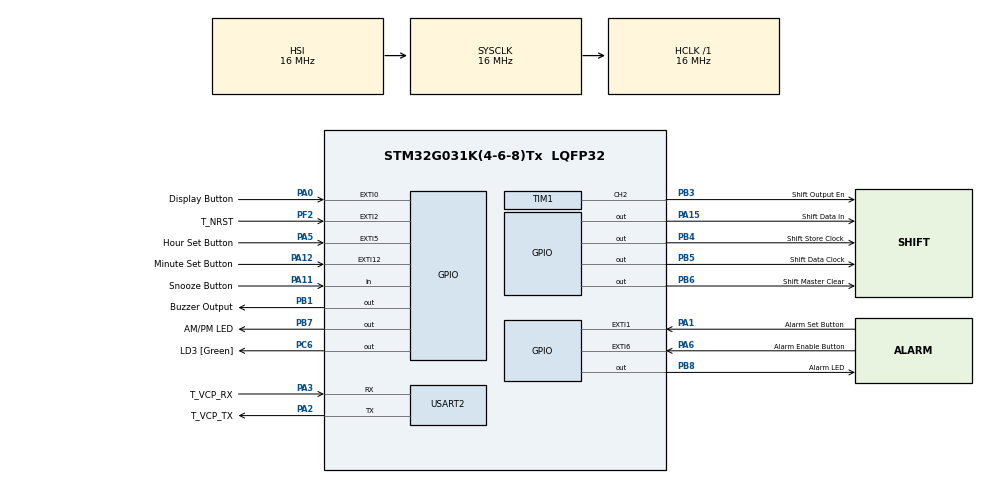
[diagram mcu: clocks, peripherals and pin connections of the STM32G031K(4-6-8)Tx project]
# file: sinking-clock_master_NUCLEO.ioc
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Mcu.Family=STM32G0
Mcu.Name=STM32G031K(4-6-8)Tx
Mcu.Package=LQFP32
NVIC.EXTI0_1_IRQn=true\:1\:0\:true\:false\:true\:true\:true\:true
NVIC.EXTI2_3_IRQn=true\:0\:0\:true\:false\:true\:true\:true\:true
NVIC.EXTI4_15_IRQn=true\:0\:0\:true\:false\:true\:true\:true\:true
NVIC.PVD_IRQn=true\:0\:0\:false\:false\:true\:true\:true\:true
NVIC.RTC_TAMP_IRQn=true\:0\:0\:false\:false\:true\:true\:true\:true
PA0.GPIO_Label=Display Button
PA0.GPIO_ModeDefaultEXTI=GPIO_MODE_IT_FALLING
PA0.GPIO_PuPd=GPIO_PULLUP
PA0.Signal=GPXTI0
PA1.GPIO_Label=Alarm Set Button
PA1.GPIO_ModeDefaultEXTI=GPIO_MODE_IT_FALLING
PA1.GPIO_PuPd=GPIO_PULLUP
PA1.Signal=GPXTI1
PA11\ [PA9].GPIO_Label=Snooze Button
PA11\ [PA9].GPIO_PuPd=GPIO_PULLUP
PA11\ [PA9].Signal=GPIO_Input
PA12\ [PA10].GPIO_Label=Minute Set Button
PA12\ [PA10].GPIO_ModeDefaultEXTI=GPIO_MODE_IT_FALLING
PA12\ [PA10].GPIO_PuPd=GPIO_PULLUP
PA12\ [PA10].Signal=GPXTI12
PA13.GPIO_Label=T_JTMS
PA13.Mode=Serial_Wire
PA13.Signal=SYS_SWDIO
PA14-BOOT0.GPIO_Label=T_JTCK
PA14-BOOT0.Mode=Serial_Wire
PA14-BOOT0.Signal=SYS_SWCLK
PA15.GPIO_Label=Shift Data In
PA15.Signal=GPIO_Output
PA2.GPIO_Label=T_VCP_TX
PA2.GPIO_PuPd=GPIO_PULLUP
PA2.Mode=Asynchronous
PA2.Signal=USART2_TX
PA3.GPIO_Label=T_VCP_RX
PA3.GPIO_PuPd=GPIO_PULLUP
PA3.Mode=Asynchronous
PA3.Signal=USART2_RX
PA5.GPIO_Label=Hour Set Button
PA5.GPIO_ModeDefaultEXTI=GPIO_MODE_IT_FALLING
PA5.GPIO_PuPd=GPIO_PULLUP
PA5.Signal=GPXTI5
PA6.GPIO_Label=Alarm Enable Button
PA6.GPIO_ModeDefaultEXTI=GPIO_MODE_IT_FALLING
PA6.GPIO_PuPd=GPIO_PULLUP
PA6.Signal=GPXTI6
PB1.GPIO_Label=Buzzer Output
PB1.Signal=GPIO_Output
PB3.GPIO_Label=Shift Output En
PB3.Signal=S_TIM1_CH2
PB4.GPIO_Label=Shift Store Clock
PB4.Signal=GPIO_Output
PB5.GPIO_Label=Shift Data Clock
PB5.Signal=GPIO_Output
PB6.GPIO_Label=Shift Master Clear
PB6.Signal=GPIO_Output
PB7.GPIO_Label=AM/PM LED
PB7.Signal=GPIO_Output
PB8.GPIO_Label=Alarm LED
PB8.Signal=GPIO_Output
PC14-OSC32_IN\ (PC14).Mode=LSE-External-Oscillator
PC14-OSC32_IN\ (PC14).Signal=RCC_OSC32_IN
PC15-OSC32_OUT\ (PC15).Mode=LSE-External-Oscillator
PC15-OSC32_OUT\ (PC15).Signal=RCC_OSC32_OUT
PC6.GPIO_Label=LD3 [Green]
PC6.Signal=GPIO_Output
PF2\ -\ NRST.GPIO_Label=T_NRST
PF2\ -\ NRST.Signal=GPXTI2
ProjectManager.HeapSize=0x200
ProjectManager.StackSize=0x400
ProjectManager.TargetToolchain=STM32CubeIDE
RCC.AHBFreq_Value=16000000
RCC.CortexFreq_Value=16000000
RCC.EXTERNAL_CLOCK_VALUE=12288000
RCC.HCLKFreq_Value=16000000
RCC.HSE_VALUE=8000000
RCC.HSI_VALUE=16000000
RCC.RTCClockSelection=RCC_RTCCLKSOURCE_LSE
RCC.SYSCLKFreq_VALUE=16000000
RCC.VCOOutputFreq_Value=128000000
RTC.Alarm-Alarm\ A=RTC_ALARM_A
RTC.AlarmMaskDateWeekDay-Alarm\ A=RTC_ALARMMASK_DATEWEEKDAY
RTC.AlarmMaskHours-Alarm\ A=RTC_ALARMMASK_HOURS
RTC.AlarmMaskSeconds-Alarm\ A=RTC_ALARMMASK_SECONDS
RTC.Format=RTC_FORMAT_BIN
RTC.HourFormat=RTC_HOURFORMAT_12
RTC.Hours=1
RTC.Minutes_A-Alarm\ A=1
RTC.Seconds=0
SH.S_TIM1_CH2.0=TIM1_CH2,PWM Generation2 CH2
TIM1.Channel-PWM\ Generation2\ CH2=TIM_CHANNEL_2
TIM1.Period=100-1
TIM1.Prescaler=160-1
TIM16.AutoReloadPreload=TIM_AUTORELOAD_PRELOAD_DISABLE
TIM16.Prescaler=244
USART2.VirtualMode-Asynchronous=VM_ASYNC
USART2.WordLength=WORDLENGTH_9B
VP_RTC_VS_RTC_Activate.Mode=RTC_Enabled
VP_RTC_VS_RTC_Alarm_A_Intern.Mode=Alarm A
VP_RTC_VS_RTC_Calendar.Mode=RTC_Calendar
VP_TIM16_VS_ClockSourceINT.Mode=Enable_Timer
board=NUCLEO-G031K8

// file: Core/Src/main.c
/* USER CODE BEGIN Header */
/**
  ******************************************************************************
  * @file           : main.c
  * @brief          : Main program body
  ******************************************************************************
  * @attention
  *
  * Copyright (c) 2023 STMicroelectronics.
  * All rights reserved.
  *
  * This software is licensed under terms that can be found in the LICENSE file
  * in the root directory of this software component.
  * If no LICENSE file comes with this software, it is provided AS-IS.
  *
  ******************************************************************************
  */
/* USER CODE END Header */
#include "main.h"

/* USER CODE BEGIN Includes */
#include "sevSeg_shift.h"
#include "alarm.h"
#include "ctouch.h"
#include "sinkingClockVars.h"
/* USER CODE END Includes */

RTC_HandleTypeDef hrtc;

TIM_HandleTypeDef htim1;
TIM_HandleTypeDef htim16;

UART_HandleTypeDef huart2;

/* USER CODE BEGIN PV */

TIM_HandleTypeDef *timerPWM = &htim1;
TIM_HandleTypeDef *timerDelay = &htim16;

/*
 * RTC access objects
 */

RTC_TimeTypeDef currTime = {0};
RTC_DateTypeDef currDate = {0};
RTC_AlarmTypeDef userAlarmObj = {0};
RTC_TimeTypeDef userAlarmTime = {0};

/* USER CODE END PV */

void SystemClock_Config(void);
static void MX_GPIO_Init(void);
static void MX_USART2_UART_Init(void);
static void MX_RTC_Init(void);
static void MX_TIM16_Init(void);
static void MX_TIM1_Init(void);
/* USER CODE BEGIN PFP */

/*
 * Call to fetch the current time from the RTC and send to the LED display.
 *
 * @param none
 *
 * @ret HAL status object
 */
HAL_StatusTypeDef updateAndDisplayTime(void);

/*
 * Call to fetch the current alarm from the RTC and send to the LED display.
 *
 * @param none
 *
 * @ret HAL status object
 */
HAL_StatusTypeDef updateAndDisplayAlarm(void);

/*
 * Called on interrupt from display button to toggle 7-segment intensity.
 *
 * @param none
 *
 * @ret HAL status object
 */
HAL_StatusTypeDef displayButtonISR(void);

/*
 * Called on interrupt from alarm enable button to toggle user alarm.
 *
 * @param none
 *
 * @ret HAL status object
 */
HAL_StatusTypeDef alarmEnableISR(void);

/*
 * Called on interrupt from alarm set button to enter alarm set loop.
 *
 * @param none
 *
 * @ret HAL status object
 */
HAL_StatusTypeDef alarmSetISR(void);

/*
 * Called on interrupt from hour and minute set buttons.
 * Contain logic to set user alarm hour or minute.
 *
 * @param none
 *
 * @ret HAL status object
 */
HAL_StatusTypeDef hourSetISR(void);
HAL_StatusTypeDef minuteSetISR(void);

/*
 * Enters loop to signal user alarm
 */
void userAlarmBeep();

/*
 * Map printf to UART output to read messages on terminal
 */
#ifdef __GNUC__
#define PUTCHAR_PROTOTYPE int __io_putchar(int ch)
#else
#define PUTCHAR_PROTOTYPE int fputc(int ch, FILE *f)
#endif

PUTCHAR_PROTOTYPE
{
  HAL_UART_Transmit(&huart2, (uint8_t *)&ch, 1, HAL_MAX_DELAY);
  return ch;
}

/* USER CODE END PFP */

int main(void)
{

  /* MCU Configuration--------------------------------------------------------*/

  /* Reset of all peripherals, Initializes the Flash interface and the Systick. */
  HAL_Init();

  /* Configure the system clock */
  SystemClock_Config();

  /* Initialize all configured peripherals */
  MX_GPIO_Init();
  MX_USART2_UART_Init();
  MX_RTC_Init();
  MX_TIM16_Init();
  MX_TIM1_Init();
  /* USER CODE BEGIN 2 */

  displayToggle = 2; 		// Display at 100% intensity for next display toggle

  // Initialize all GPIOs to be used with 7 segment display
  sevSeg_Init(shiftDataPin, shiftDataClockPin, shiftStoreClockPin,
					shiftOutputEnablePin, shiftMCLRPin,
					GPIOPortArray, timerDelay, timerPWM);

  	HAL_StatusTypeDef halRet = updateAndDisplayTime();

  	if(halRet != HAL_OK) {		//check HAL
  		printf("HAL Error - TX current time\n\r");
  	} else {
  		printf("Display Updated with current time\n\r");
  	}

  userAlarmToggle = false;			//Default to off

  // User alarm default value
  userAlarmTime.Hours = 1;
  userAlarmTime.Minutes = 1;
  userAlarmTime.TimeFormat = RTC_HOURFORMAT12_AM;

  /* USER CODE END 2 */

  /* Infinite loop */
  while (1)
  {

  }
}

void SystemClock_Config(void)
{
  RCC_OscInitTypeDef RCC_OscInitStruct = {0};
  RCC_ClkInitTypeDef RCC_ClkInitStruct = {0};

  /** Configure the main internal regulator output voltage
  */
  HAL_PWREx_ControlVoltageScaling(PWR_REGULATOR_VOLTAGE_SCALE1);

  /** Configure LSE Drive Capability
  */
  HAL_PWR_EnableBkUpAccess();
  __HAL_RCC_LSEDRIVE_CONFIG(RCC_LSEDRIVE_LOW);

  /** Initializes the RCC Oscillators according to the specified parameters
  * in the RCC_OscInitTypeDef structure.
  */
  RCC_OscInitStruct.OscillatorType = RCC_OSCILLATORTYPE_HSI|RCC_OSCILLATORTYPE_LSE;
  RCC_OscInitStruct.LSEState = RCC_LSE_ON;
  RCC_OscInitStruct.HSIState = RCC_HSI_ON;
  RCC_OscInitStruct.HSIDiv = RCC_HSI_DIV1;
  RCC_OscInitStruct.HSICalibrationValue = RCC_HSICALIBRATION_DEFAULT;
  RCC_OscInitStruct.PLL.PLLState = RCC_PLL_NONE;
  if (HAL_RCC_OscConfig(&RCC_OscInitStruct) != HAL_OK)
  {
    Error_Handler();
  }

  /** Initializes the CPU, AHB and APB buses clocks
  */
  RCC_ClkInitStruct.ClockType = RCC_CLOCKTYPE_HCLK|RCC_CLOCKTYPE_SYSCLK
                              |RCC_CLOCKTYPE_PCLK1;
  RCC_ClkInitStruct.SYSCLKSource = RCC_SYSCLKSOURCE_HSI;
  RCC_ClkInitStruct.AHBCLKDivider = RCC_SYSCLK_DIV1;
  RCC_ClkInitStruct.APB1CLKDivider = RCC_HCLK_DIV1;

  if (HAL_RCC_ClockConfig(&RCC_ClkInitStruct, FLASH_LATENCY_0) != HAL_OK)
  {
    Error_Handler();
  }
}

static void MX_RTC_Init(void)
{

  RTC_TimeTypeDef sTime = {0};
  RTC_DateTypeDef sDate = {0};
  RTC_AlarmTypeDef sAlarm = {0};

  /** Initialize RTC Only
  */
  hrtc.Instance = RTC;
  hrtc.Init.HourFormat = RTC_HOURFORMAT_12;
  hrtc.Init.AsynchPrediv = 127;
  hrtc.Init.SynchPrediv = 255;
  hrtc.Init.OutPut = RTC_OUTPUT_DISABLE;
  hrtc.Init.OutPutRemap = RTC_OUTPUT_REMAP_NONE;
  hrtc.Init.OutPutPolarity = RTC_OUTPUT_POLARITY_HIGH;
  hrtc.Init.OutPutType = RTC_OUTPUT_TYPE_OPENDRAIN;
  hrtc.Init.OutPutPullUp = RTC_OUTPUT_PULLUP_NONE;
  if (HAL_RTC_Init(&hrtc) != HAL_OK)
  {
    Error_Handler();
  }

  /** Initialize RTC and set the Time and Date
  */
  sTime.Hours = 1;
  sTime.Minutes = 0;
  sTime.Seconds = 0;
  sTime.SubSeconds = 0;
  sTime.TimeFormat = RTC_HOURFORMAT12_AM;
  sTime.DayLightSaving = RTC_DAYLIGHTSAVING_NONE;
  sTime.StoreOperation = RTC_STOREOPERATION_RESET;
  if (HAL_RTC_SetTime(&hrtc, &sTime, RTC_FORMAT_BIN) != HAL_OK)
  {
    Error_Handler();
  }
  sDate.WeekDay = RTC_WEEKDAY_MONDAY;
  sDate.Month = RTC_MONTH_JANUARY;
  sDate.Date = 1;
  sDate.Year = 0;

  if (HAL_RTC_SetDate(&hrtc, &sDate, RTC_FORMAT_BIN) != HAL_OK)
  {
    Error_Handler();
  }

  /** Enable the Alarm A
  */
  sAlarm.AlarmTime.Hours = 1;
  sAlarm.AlarmTime.Minutes = 1;
  sAlarm.AlarmTime.Seconds = 0;
  sAlarm.AlarmTime.SubSeconds = 0;
  sAlarm.AlarmTime.TimeFormat = RTC_HOURFORMAT12_AM;
  sAlarm.AlarmTime.DayLightSaving = RTC_DAYLIGHTSAVING_NONE;
  sAlarm.AlarmTime.StoreOperation = RTC_STOREOPERATION_RESET;
  sAlarm.AlarmMask = RTC_ALARMMASK_DATEWEEKDAY|RTC_ALARMMASK_HOURS
                              |RTC_ALARMMASK_SECONDS;
  sAlarm.AlarmSubSecondMask = RTC_ALARMSUBSECONDMASK_ALL;
  sAlarm.AlarmDateWeekDaySel = RTC_ALARMDATEWEEKDAYSEL_DATE;
  sAlarm.AlarmDateWeekDay = 1;
  sAlarm.Alarm = RTC_ALARM_A;
  if (HAL_RTC_SetAlarm_IT(&hrtc, &sAlarm, RTC_FORMAT_BIN) != HAL_OK)
  {
    Error_Handler();
  }
  /* USER CODE BEGIN RTC_Init 2 */

  currTime = sTime;
  currDate = sDate;
  userAlarmObj = sAlarm;
  userAlarmTime = userAlarmObj.AlarmTime;

  /* USER CODE END RTC_Init 2 */

}

static void MX_TIM1_Init(void)
{

  TIM_MasterConfigTypeDef sMasterConfig = {0};
  TIM_OC_InitTypeDef sConfigOC = {0};
  TIM_BreakDeadTimeConfigTypeDef sBreakDeadTimeConfig = {0};

  htim1.Instance = TIM1;
  htim1.Init.Prescaler = 160-1;
  htim1.Init.CounterMode = TIM_COUNTERMODE_UP;
  htim1.Init.Period = 100-1;
  htim1.Init.ClockDivision = TIM_CLOCKDIVISION_DIV1;
  htim1.Init.RepetitionCounter = 0;
  htim1.Init.AutoReloadPreload = TIM_AUTORELOAD_PRELOAD_DISABLE;
  if (HAL_TIM_PWM_Init(&htim1) != HAL_OK)
  {
    Error_Handler();
  }
  sMasterConfig.MasterOutputTrigger = TIM_TRGO_RESET;
  sMasterConfig.MasterOutputTrigger2 = TIM_TRGO2_RESET;
  sMasterConfig.MasterSlaveMode = TIM_MASTERSLAVEMODE_DISABLE;
  if (HAL_TIMEx_MasterConfigSynchronization(&htim1, &sMasterConfig) != HAL_OK)
  {
    Error_Handler();
  }
  sConfigOC.OCMode = TIM_OCMODE_PWM1;
  sConfigOC.Pulse = 0;
  sConfigOC.OCPolarity = TIM_OCPOLARITY_HIGH;
  sConfigOC.OCNPolarity = TIM_OCNPOLARITY_HIGH;
  sConfigOC.OCFastMode = TIM_OCFAST_DISABLE;
  sConfigOC.OCIdleState = TIM_OCIDLESTATE_RESET;
  sConfigOC.OCNIdleState = TIM_OCNIDLESTATE_RESET;
  if (HAL_TIM_PWM_ConfigChannel(&htim1, &sConfigOC, TIM_CHANNEL_2) != HAL_OK)
  {
    Error_Handler();
  }
  sBreakDeadTimeConfig.OffStateRunMode = TIM_OSSR_DISABLE;
  sBreakDeadTimeConfig.OffStateIDLEMode = TIM_OSSI_DISABLE;
  sBreakDeadTimeConfig.LockLevel = TIM_LOCKLEVEL_OFF;
  sBreakDeadTimeConfig.DeadTime = 0;
  sBreakDeadTimeConfig.BreakState = TIM_BREAK_DISABLE;
  sBreakDeadTimeConfig.BreakPolarity = TIM_BREAKPOLARITY_HIGH;
  sBreakDeadTimeConfig.BreakFilter = 0;
  sBreakDeadTimeConfig.BreakAFMode = TIM_BREAK_AFMODE_INPUT;
  sBreakDeadTimeConfig.Break2State = TIM_BREAK2_DISABLE;
  sBreakDeadTimeConfig.Break2Polarity = TIM_BREAK2POLARITY_HIGH;
  sBreakDeadTimeConfig.Break2Filter = 0;
  sBreakDeadTimeConfig.Break2AFMode = TIM_BREAK_AFMODE_INPUT;
  sBreakDeadTimeConfig.AutomaticOutput = TIM_AUTOMATICOUTPUT_DISABLE;
  if (HAL_TIMEx_ConfigBreakDeadTime(&htim1, &sBreakDeadTimeConfig) != HAL_OK)
  {
    Error_Handler();
  }
  HAL_TIM_MspPostInit(&htim1);

}

static void MX_TIM16_Init(void)
{

  htim16.Instance = TIM16;
  htim16.Init.Prescaler = 244;
  htim16.Init.CounterMode = TIM_COUNTERMODE_UP;
  htim16.Init.Period = 65535;
  htim16.Init.ClockDivision = TIM_CLOCKDIVISION_DIV1;
  htim16.Init.RepetitionCounter = 0;
  htim16.Init.AutoReloadPreload = TIM_AUTORELOAD_PRELOAD_DISABLE;
  if (HAL_TIM_Base_Init(&htim16) != HAL_OK)
  {
    Error_Handler();
  }

}

static void MX_USART2_UART_Init(void)
{

  huart2.Instance = USART2;
  huart2.Init.BaudRate = 115200;
  huart2.Init.WordLength = UART_WORDLENGTH_9B;
  huart2.Init.StopBits = UART_STOPBITS_1;
  huart2.Init.Parity = UART_PARITY_NONE;
  huart2.Init.Mode = UART_MODE_TX_RX;
  huart2.Init.HwFlowCtl = UART_HWCONTROL_NONE;
  huart2.Init.OverSampling = UART_OVERSAMPLING_16;
  huart2.Init.OneBitSampling = UART_ONE_BIT_SAMPLE_DISABLE;
  huart2.Init.ClockPrescaler = UART_PRESCALER_DIV1;
  huart2.AdvancedInit.AdvFeatureInit = UART_ADVFEATURE_NO_INIT;
  if (HAL_UART_Init(&huart2) != HAL_OK)
  {
    Error_Handler();
  }

}

static void MX_GPIO_Init(void)
{
  GPIO_InitTypeDef GPIO_InitStruct = {0};

  /* GPIO Ports Clock Enable */
  __HAL_RCC_GPIOC_CLK_ENABLE();
  __HAL_RCC_GPIOF_CLK_ENABLE();
  __HAL_RCC_GPIOA_CLK_ENABLE();
  __HAL_RCC_GPIOB_CLK_ENABLE();

  /*Configure GPIO pin Output Level */
  HAL_GPIO_WritePin(GPIOB, Buzzer_Output_Pin|Shift_Store_Clock_Pin|Shift_Data_Clock_Pin|Shift_Master_Clear_Pin
                          |AM_PM_LED_Pin|Alarm_LED_Pin, GPIO_PIN_RESET);

  /*Configure GPIO pin Output Level */
  HAL_GPIO_WritePin(LD3_GPIO_Port, LD3_Pin, GPIO_PIN_RESET);

  /*Configure GPIO pin Output Level */
  HAL_GPIO_WritePin(Shift_Data_In_GPIO_Port, Shift_Data_In_Pin, GPIO_PIN_RESET);

  /*Configure GPIO pin : T_NRST_Pin */
  GPIO_InitStruct.Pin = T_NRST_Pin;
  GPIO_InitStruct.Mode = GPIO_MODE_IT_RISING;
  GPIO_InitStruct.Pull = GPIO_NOPULL;
  HAL_GPIO_Init(T_NRST_GPIO_Port, &GPIO_InitStruct);

  /*Configure GPIO pins : Display_Button_Pin Alarm_Set_Button_Pin Hour_Set_Button_Pin Alarm_Enable_Button_Pin
                           Minute_Set_Button_Pin */
  GPIO_InitStruct.Pin = Display_Button_Pin|Alarm_Set_Button_Pin|Hour_Set_Button_Pin|Alarm_Enable_Button_Pin
                          |Minute_Set_Button_Pin;
  GPIO_InitStruct.Mode = GPIO_MODE_IT_FALLING;
  GPIO_InitStruct.Pull = GPIO_PULLUP;
  HAL_GPIO_Init(GPIOA, &GPIO_InitStruct);

  /*Configure GPIO pins : Buzzer_Output_Pin Shift_Store_Clock_Pin Shift_Data_Clock_Pin Shift_Master_Clear_Pin
                           AM_PM_LED_Pin Alarm_LED_Pin */
  GPIO_InitStruct.Pin = Buzzer_Output_Pin|Shift_Store_Clock_Pin|Shift_Data_Clock_Pin|Shift_Master_Clear_Pin
                          |AM_PM_LED_Pin|Alarm_LED_Pin;
  GPIO_InitStruct.Mode = GPIO_MODE_OUTPUT_PP;
  GPIO_InitStruct.Pull = GPIO_NOPULL;
  GPIO_InitStruct.Speed = GPIO_SPEED_FREQ_LOW;
  HAL_GPIO_Init(GPIOB, &GPIO_InitStruct);

  /*Configure GPIO pin : LD3_Pin */
  GPIO_InitStruct.Pin = LD3_Pin;
  GPIO_InitStruct.Mode = GPIO_MODE_OUTPUT_PP;
  GPIO_InitStruct.Pull = GPIO_NOPULL;
  GPIO_InitStruct.Speed = GPIO_SPEED_FREQ_LOW;
  HAL_GPIO_Init(LD3_GPIO_Port, &GPIO_InitStruct);

  /*Configure GPIO pin : Snooze_Button_Pin */
  GPIO_InitStruct.Pin = Snooze_Button_Pin;
  GPIO_InitStruct.Mode = GPIO_MODE_INPUT;
  GPIO_InitStruct.Pull = GPIO_PULLUP;
  HAL_GPIO_Init(Snooze_Button_GPIO_Port, &GPIO_InitStruct);

  /*Configure GPIO pin : Shift_Data_In_Pin */
  GPIO_InitStruct.Pin = Shift_Data_In_Pin;
  GPIO_InitStruct.Mode = GPIO_MODE_OUTPUT_PP;
  GPIO_InitStruct.Pull = GPIO_NOPULL;
  GPIO_InitStruct.Speed = GPIO_SPEED_FREQ_LOW;
  HAL_GPIO_Init(Shift_Data_In_GPIO_Port, &GPIO_InitStruct);

  /* EXTI interrupt init*/
  HAL_NVIC_SetPriority(EXTI0_1_IRQn, 1, 0);
  HAL_NVIC_EnableIRQ(EXTI0_1_IRQn);

  HAL_NVIC_SetPriority(EXTI2_3_IRQn, 0, 0);
  HAL_NVIC_EnableIRQ(EXTI2_3_IRQn);

  HAL_NVIC_SetPriority(EXTI4_15_IRQn, 0, 0);
  HAL_NVIC_EnableIRQ(EXTI4_15_IRQn);

}

/* USER CODE BEGIN 4 */

HAL_StatusTypeDef updateAndDisplayTime(void) {

	HAL_StatusTypeDef halRet = HAL_OK;

	getRTCTime(&hrtc, &currTime, &currDate);
	sevSeg_updateDigits(&currTime);

	/*
	 * There is no PM LED anymore
	 */
//	if(currTime.TimeFormat == RTC_HOURFORMAT12_PM) {			// If we are in the PM hours
//		HAL_GPIO_WritePin(GPIOB, PMLED, GPIO_PIN_SET);			// Turn on PM LED
//	}
//	else {
//		HAL_GPIO_WritePin(GPIOB, PMLED, GPIO_PIN_RESET);		// Else, it is A.M.
//	}

	return halRet;

}

HAL_StatusTypeDef updateAndDisplayAlarm(void) {

	HAL_StatusTypeDef halRet = HAL_OK;

	sevSeg_updateDigits(&userAlarmTime);

	if(userAlarmTime.TimeFormat == RTC_HOURFORMAT12_PM) {			// If we are in the PM hours
		HAL_GPIO_WritePin(GPIOB, PMLED, GPIO_PIN_SET);			// Turn on PM LED
	}
	else {
		HAL_GPIO_WritePin(GPIOB, PMLED, GPIO_PIN_RESET);		// Else, it is A.M.
	}

	return halRet;

}

void HAL_RTC_AlarmAEventCallback(RTC_HandleTypeDef *hrtc) {

	  printf("Enter current time minute increment interrupt\n\r");

	  RTC_AlarmTypeDef sAlarm;
	  getRTCTime(hrtc, &currTime, &currDate);

	  if(sAlarm.AlarmTime.Minutes>58) {
		sAlarm.AlarmTime.Minutes=0;
		printf("Reset alarm time\n\r");
	  } else {
		sAlarm.AlarmTime.Minutes=sAlarm.AlarmTime.Minutes+1;
	  }
		while(HAL_RTC_SetAlarm_IT(hrtc, &sAlarm, FORMAT_BIN)!=HAL_OK){}

	  updateAndDisplayTime();

	  printf("Current time: %u : %u : %u\n\r", currTime.Hours, currTime.Minutes, currTime.Seconds);

	  // If alarm is enabled and current time matches user alarm time, set off the alarm.
	  if(userAlarmToggle && userAlarmTime.Hours == currTime.Hours
			  && userAlarmTime.Minutes == currTime.Minutes && userAlarmTime.TimeFormat == currTime.TimeFormat) {
		  userAlarmBeep();
	  }

}

void userAlarmBeep() {

	HAL_TIM_Base_Stop(timerDelay);
	HAL_TIM_Base_Start(timerDelay);						// Begin timer 16 counting (to 500 ms)
	uint32_t timerVal = __HAL_TIM_GET_COUNTER(timerDelay);	// Get initial timer value to compare to
	bool displayBlink = false;

	do {						// Beep buzzer and blink display until snooze button is pressed

		updateAndDisplayTime();				// Update to current time and display

		if(__HAL_TIM_GET_COUNTER(timerDelay) - timerVal >= (65535 / 2)) {		// Use hardware timer to blink/beep display

			sevSeg_setIntensity(timerPWM, sevSeg_intensityDuty[displayBlink]);	// Toggle 0% to 50% duty cycle

			HAL_GPIO_TogglePin(GPIOB, buzzerPin);					// Toggle Buzzer

			timerVal = __HAL_TIM_GET_COUNTER(timerDelay);				// Update timer value

			displayBlink = !displayBlink;							// Toggle display blink counter

			//printf("Display Blink = %u\n\r", displayBlink);

		}

	} while(capTouchTrigger(snoozeButtonPin));

	HAL_TIM_Base_Stop(timerDelay);

}

void HAL_GPIO_EXTI_Falling_Callback(uint16_t GPIO_Pin) {

	HAL_StatusTypeDef halRet;					// Flag for printing interrupt status

	if(GPIO_Pin == displayButtonPin) {
		halRet = displayButtonISR();
		if (halRet != HAL_OK) {
			printf("Error toggling display.\n\r");
		} else {
			printf("Display intensity toggled.\n\r");
		}
	}
	else if(GPIO_Pin == alarmEnableButtonPin) {
		halRet = alarmEnableISR();
		if (halRet != HAL_OK) {
			printf("Error toggling user alarm.\n\r");
		} else {
			printf("User alarm toggled.\n\r");
		}
	}
	else if(GPIO_Pin == alarmSetButtonPin) {
		halRet = alarmSetISR();
		if (halRet != HAL_OK) {
			printf("Error setting user alarm.\n\r");
		} else {
			printf("User alarm set.\n\r");
		}
	}
	else if(GPIO_Pin == hourSetButtonPin) {
		halRet = hourSetISR();
		if (halRet != HAL_OK) {
			printf("Error incrementing hour.\n\r");
		} else {
			printf("Hour increment ISR success.\n\r");
		}
	}
	else if(GPIO_Pin == minuteSetButtonPin) {
		halRet = minuteSetISR();
		if (halRet != HAL_OK) {
			printf("Error incrementing minute.\n\r");
		} else {
			printf("Minute increment ISR success.\n\r");
		}
	}
	else {			//Code should never reach here, but do nothing if it does.
		__NOP();
	}

}

HAL_StatusTypeDef displayButtonISR(void) {

	printf("Entered display toggle ISR\n\r");
	HAL_StatusTypeDef halRet = HAL_OK;

	updateAndDisplayTime();

	sevSeg_setIntensity(timerPWM, sevSeg_intensityDuty[displayToggle]);		//Turn display to proper duty cycle

	if(displayToggle >= 2) {			// Increment display toggle or reset back down to 0;
		displayToggle = 0;
		HAL_GPIO_WritePin(GPIOB, PMLED, GPIO_PIN_RESET);		// If display is off, turn off AM/PM LED
	} else {
		displayToggle++;
	}

	return halRet;				// Return HAL status

}

HAL_StatusTypeDef alarmEnableISR(void) {

	printf("Entered alarm toggle ISR\n\r");
	HAL_StatusTypeDef halRet = HAL_OK;

	if(!userAlarmToggle) {					// If alarm is disabled, enable it.

		HAL_GPIO_WritePin(GPIOB, alarmLED, GPIO_PIN_SET);			// Turn on alarm LED
		userAlarmToggle = true;								// Toggle internal flag to true

		printf("User alarm set to: %u:%u:%u.\n\r", userAlarmTime.Hours,
								userAlarmTime.Minutes, userAlarmTime.Seconds);

	}
	else if (userAlarmToggle) {				// If alarm is enabled, disable it.

		HAL_GPIO_WritePin(GPIOB, alarmLED, GPIO_PIN_RESET);			// Turn off alarm LED
		userAlarmToggle = false;							// Toggle internal flag to false

		printf("User alarm disabled.\n\r");
	}
	else {
		__NOP();							//Code should never reach here.
	}

	return halRet;

}

HAL_StatusTypeDef alarmSetISR(void) {

	printf("Enter user alarm set ISR.\n\r");

	printf("User alarm currently set to %u:%u:%u.\n\r", userAlarmTime.Hours,
			userAlarmTime.Minutes, userAlarmTime.Seconds);

	HAL_StatusTypeDef halRet = HAL_OK;

	HAL_TIM_Base_Stop(timerDelay);
	HAL_TIM_Base_Start(timerDelay);						// Begin timer 16 counting (to 500 ms)
	uint32_t timerVal = __HAL_TIM_GET_COUNTER(timerDelay);	// Get initial timer value to compare to
	bool displayBlink = false;

	do {											// while the alarm set button is not held down, blink display.

		updateAndDisplayAlarm();

		if(__HAL_TIM_GET_COUNTER(timerDelay) - timerVal >= (65536 / 2)) {

			sevSeg_setIntensity (timerPWM, sevSeg_intensityDuty[displayBlink]);		// Initialize to whatever duty cycle

			timerVal = __HAL_TIM_GET_COUNTER(timerDelay);
			displayBlink = !displayBlink;

		}

	}while(HAL_GPIO_ReadPin(GPIOA, alarmSetButtonPin) == GPIO_PIN_RESET);

	sevSeg_setIntensity(timerPWM, sevSeg_intensityDuty[1]);			// Turn display back to full intensity

	HAL_TIM_Base_Stop(timerDelay);

	updateAndDisplayTime();
	printf("Current time back to %u:%u:%u.\n\r", currTime.Hours, currTime.Minutes, currTime.Seconds);

	return halRet;

}

HAL_StatusTypeDef hourSetISR(void) {

	printf("Entered hour set ISR.\n\r");

	HAL_StatusTypeDef halRet = HAL_OK;

	if(HAL_GPIO_ReadPin(GPIOA, alarmSetButtonPin) != GPIO_PIN_SET) {	// If the alarm set button is held down, change user alarm time hour

		if(userAlarmTime.Hours >= 12) {
			userAlarmTime.Hours = 1;
			if(userAlarmTime.TimeFormat == RTC_HOURFORMAT12_AM) {
				userAlarmTime.TimeFormat = RTC_HOURFORMAT12_PM;
			} else {
				userAlarmTime.TimeFormat = RTC_HOURFORMAT12_AM;
			}
		}
		else if(userAlarmTime.Hours < 12) {
			userAlarmTime.Hours = userAlarmTime.Hours + 1;
		}
		else {
			__NOP();
		}

		printf("User alarm hour incremented to %u:%u:%u\n\r", userAlarmTime.Hours,
				userAlarmTime.Minutes, userAlarmTime.Seconds);

	}
	else {									// Otherwise, change current time hour.

		getRTCTime(&hrtc, &currTime, &currDate);
		if(currTime.Hours >= 12) {
			currTime.Hours = 1;
			if(currTime.TimeFormat == RTC_HOURFORMAT12_AM) {
				currTime.TimeFormat = RTC_HOURFORMAT12_PM;
			} else {
				currTime.TimeFormat = RTC_HOURFORMAT12_AM;
			}
		}
		else if(currTime.Hours < 12) {
			currTime.Hours = currTime.Hours + 1;
		}
		else {
			__NOP();
		}
		HAL_RTC_SetTime(&hrtc, &currTime, RTCTimeFormat);

		updateAndDisplayTime();

		getRTCTime(&hrtc, &currTime, &currDate);

		printf("Current time hour incremented to %u:%u:%u.\n\r", currTime.Hours,
				currTime.Minutes, currTime.Seconds);
	}

	return halRet;
}

HAL_StatusTypeDef minuteSetISR(void) {

	printf("Entered minute set ISR.\n\r");

	HAL_StatusTypeDef halRet = HAL_OK;

	if(HAL_GPIO_ReadPin(GPIOA, alarmSetButtonPin) == !GPIO_PIN_SET) {	// If the alarm set button is held down, change user alarm time hour

		if(userAlarmTime.Minutes >= 59) {
			userAlarmTime.Minutes = 0;
			userAlarmTime.Hours = userAlarmTime.Hours + 1;
			if(userAlarmTime.Hours > 12) {
				userAlarmTime.Hours = 1;
			}
			if(userAlarmTime.Hours == 12 && userAlarmTime.TimeFormat == RTC_HOURFORMAT12_AM) {
				userAlarmTime.TimeFormat = RTC_HOURFORMAT12_PM;
			} else if(userAlarmTime.Hours == 12 && userAlarmTime.TimeFormat == RTC_HOURFORMAT12_PM) {
				userAlarmTime.TimeFormat = RTC_HOURFORMAT12_AM;
			}
			else {
				__NOP();
			}
		}
		else if(userAlarmTime.Minutes < 59) {
			userAlarmTime.Minutes = userAlarmTime.Minutes + 1;
		}
		else {
			__NOP();
		}

		printf("User alarm minute incremented to %u:%u:%u\n\r", userAlarmTime.Hours,
				userAlarmTime.Minutes, userAlarmTime.Seconds);

	}
	else {									// Otherwise, change current time hour.

		getRTCTime(&hrtc, &currTime, &currDate);

		if(currTime.Minutes >= 59) {
			currTime.Minutes = 0;
			currTime.Hours = currTime.Hours + 1;
			if(currTime.Hours > 12) {
				currTime.Hours = 1;
			}
			if(currTime.Hours == 12 && currTime.TimeFormat == RTC_HOURFORMAT12_AM) {
				currTime.TimeFormat = RTC_HOURFORMAT12_PM;
			} else if(currTime.Hours == 12 && currTime.TimeFormat == RTC_HOURFORMAT12_PM) {
				currTime.TimeFormat = RTC_HOURFORMAT12_AM;
			}
			else {
				__NOP();
			}
		}
		else if(currTime.Minutes < 59) {
			currTime.Minutes = currTime.Minutes + 1;
		}
		else {
			__NOP();
		}
		HAL_RTC_SetTime(&hrtc, &currTime, RTCTimeFormat);

		updateAndDisplayTime();

		getRTCTime(&hrtc, &currTime, &currDate);

		printf("Current time minute incremented to %u:%u:%u.\n\r", currTime.Hours,
				currTime.Minutes, currTime.Seconds);
	}

	return halRet;
}

/* USER CODE END 4 */

void Error_Handler(void)
{
  __disable_irq();
  while (1)
  {
  }
}
